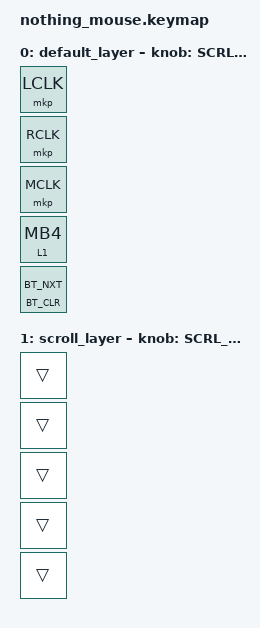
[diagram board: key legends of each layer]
#include <behaviors.dtsi>
#include <dt-bindings/zmk/keys.h>
#include <dt-bindings/zmk/bt.h>
#include <dt-bindings/zmk/pointing.h>

/ {
    behaviors {
        /* モードボタン用: 短押しで接続先切替、2秒(2000ms)長押しでペアリングクリア */
        bt_mode: bt_mode_hold_tap {
            compatible = "zmk,behavior-hold-tap";
            #binding-cells = <2>;
            flavor = "tap-preferred";
            tapping-term-ms = <2000>;
            bindings = <&bt>, <&bt>;
        };

        /* ホイール縦スクロール（エンコーダ回転用） */
        rot_msc_v: sensor_rotate_msc_v {
            compatible = "zmk,behavior-sensor-rotate-var";
            #sensor-binding-cells = <2>;
            bindings = <&msc>, <&msc>;
            tap-ms = <20>;
        };

        /* ホイール横スクロール（サイドボタン押下中のエンコーダ回転用） */
        rot_msc_h: sensor_rotate_msc_h {
            compatible = "zmk,behavior-sensor-rotate-var";
            #sensor-binding-cells = <2>;
            bindings = <&msc>, <&msc>;
            tap-ms = <20>;
        };
    };

    keymap {
        compatible = "zmk,keymap";

        /* 通常レイヤー (Layer 0) */
        default_layer {
            /* 順番: SW1(左), SW2(右), SW3(中), SW4(短押し:戻る / 長押し:Layer1), SW5(短押し:BT次へ / 長押し:BTクリア) */
            bindings = <
                &mkp LCLK
                &mkp RCLK
                &mkp MCLK
                &lt 1 MB4
                &bt_mode BT_CLR BT_NXT
            >;
            /* 通常時のエンコーダ: 縦スクロール */
            sensor-bindings = <&rot_msc_v SCRL_DOWN SCRL_UP>;
        };

        /* サイドボタン押下中レイヤー (Layer 1) */
        scroll_layer {
            bindings = <
                &trans
                &trans
                &trans
                &trans
                &trans
            >;
            /* サイドボタン押下中のエンコーダ: 横スクロール */
            sensor-bindings = <&rot_msc_h SCRL_RIGHT SCRL_LEFT>;
        };
    };
};
